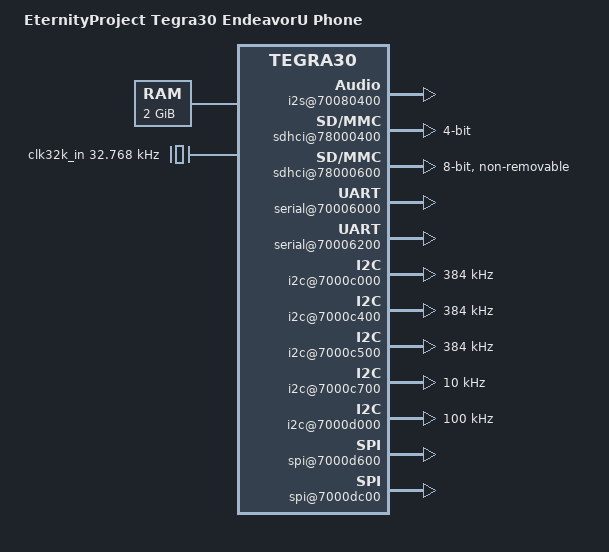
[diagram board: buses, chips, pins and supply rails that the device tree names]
/dts-v1/;

/include/ "tegra30.dtsi"

/**
 * This file contains DeviceTree entry for production version of EndeavorU.
 *
 * *M*: MUX
 * *P*: PULL
 * *S*: STATE
 *
 * NC: Not Connected
 * TP: Test Point
 * EPH: External pull high
 * EPD: External pull down
 * (I): Input ONLY
 *
 * Copyright (C) 2013, EternityProject Development
 * Angelo G. Del Regno <kholk11@gmail.com>
 */

/* [TODO] Define:
 * 1. Sensors (Proximity, ambient light, accelerometer)
 * 2. Regulators
 * 3. Power rails of regulator
 * 4. What about physical buttons? (PWR, VOLUP, VOLDN)
 * 5. Cameras, perhaps? So that we may define the pinctrl groups in there!
 */

/ {
	model = "EternityProject Tegra30 EndeavorU Phone";
	compatible = "nvidia,endeavoru", "nvidia,tegra30";

	memory {
		reg = <0x80000000 0x80000000>;
	};

	pinmux@70000000 {
		pinctrl-names = "default";
		pinctrl-0 = <&state_default>;

		state_default: pinmux {

			/* I2C MUX */
			gen1_i2c_scl_pc4 {
				nvidia,pins =	"gen1_i2c_scl_pc4",	/* PER_SENSOR_I2C_SCL*/
						"gen1_i2c_sda_pc5";	/* PER_SENSOR_I2C_SDA*/
				nvidia,function = "i2c1";
				nvidia,pull = <0>;
				nvidia,tristate = <0>;
				nvidia,enable-input = <1>;
				nvidia,lock = <0>;
				nvidia,open-drain = <0>;
			};

			gen2_i2c_scl_pt5 {
				nvidia,pins =	"gen2_i2c_scl_pt5",	/* DSP_TW_I2C_SCL    */
						"gen2_i2c_sda_pt6";	/* DSP_TW_I2C_SDA    */
				nvidia,function = "i2c2";
				nvidia,pull = <0>;
				nvidia,tristate = <0>;
				nvidia,enable-input = <1>;
				nvidia,lock = <0>;
				nvidia,open-drain = <0>;
			};

			cam_i2c_scl_pbb1 {
				nvidia,pins =	"cam_i2c_scl_pbb1",	/* CAM_I2C_SCL       */
						"cam_i2c_sda_pbb2";	/* CAM_I2C_SDA       */
				nvidia,function = "i2c3";
				nvidia,pull = <0>;
				nvidia,tristate = <0>;
				nvidia,enable-input = <1>;
				nvidia,lock = <0>;
				nvidia,open-drain = <0>;
			};

			ddc_scl_pv4 {
				nvidia,pins =	"ddc_scl_pv4",		/* MHL_DDC_CLK       */
						"ddc_sda_pv5";		/* MHL_DDC_DATA      */
				nvidia,function = "i2c4";
				nvidia,pull = <0>;
				nvidia,tristate = <0>;
				nvidia,enable-input = <1>;
				nvidia,lock = <0>;
				/*nvidia,open-drain = <1>; HTC wants open-drain!!! */
			};

			pwr_i2c_scl_pz6 {
				nvidia,pins =	"pwr_i2c_scl_pz6",	/* SYS_PWR_I2C_SCL   */
						"pwr_i2c_sda_pz7";	/* SYS_PWR_I2C_SDA   */
				nvidia,function = "i2cpwr";
				nvidia,pull = <0>;
				nvidia,tristate = <0>;
				nvidia,enable-input = <1>;
				nvidia,lock = <0>;
				nvidia,open-drain = <1>;
			};

			/* 32k clock OUT: !!NC!! */
			clk_32k_out_pa0 {
				nvidia,pins = "clk_32k_out_pa0";	/* NC!!!             */
				nvidia,function = "blink";
				nvidia,pull = <0>;
				nvidia,tristate = <0>;
			};

			/* SDMMC3: TI WL1283 SDIO */
			sdmmc3_clk_pa6 {
				nvidia,pins = "sdmmc3_clk_pa6";		/* WIFI_SDIO_CLOCK   */
				nvidia,function = "sdmmc3";		/* SDMMC3 MUX *M*/
				nvidia,pull = <0>;			/* NORMAL     *P*/
				nvidia,tristate = <0>;
				nvidia,enable-input = <1>;
			};
			sdmmc3_cmd_pa7 {
				nvidia,pins =	"sdmmc3_cmd_pa7",	/* WIFI_SDIO_COMMAND */
						"sdmmc3_dat0_pb7",	/* WIFI_SDIO_DATA0   */
						"sdmmc3_dat1_pb6",	/* WIFI_SDIO_DATA1   */
						"sdmmc3_dat2_pb5",	/* WIFI_SDIO_DATA2   */
						"sdmmc3_dat3_pb4";	/* WIFI_SDIO_DATA3   */
				nvidia,function = "sdmmc3";		/* SDMMC3 MUX *M*/
				nvidia,pull = <2>;			/* PULL_UP    *P*/
				nvidia,tristate = <0>;
				nvidia,enable-input = <1>;
			};

			/* SDMMC4: EMMC */
			sdmmc4_clk_pcc4 {
				nvidia,pins =	"sdmmc4_clk_pcc4";	/* BSP_EMMC_CLK      */
				nvidia,function = "sdmmc4";
				nvidia,pull = <0>;
				nvidia,tristate = <0>;
				nvidia,enable-input = <1>;
			};
			sdmmc4_rst_n_pcc3 {
				nvidia,pins =	"sdmmc4_rst_n_pcc3";	/* BSP_EMMC_RESOUT#  */
				nvidia,function = "rsvd2";
				nvidia,pull = <0>;
				nvidia,tristate = <0>;
				nvidia,enable-input = <1>;
			};
			sdmmc4_cmd_pt7 {
				nvidia,pins =	"sdmmc4_cmd_pt7",	/* PER_EMMC_CMD      */
						"sdmmc4_dat0_paa0",	/* BSP_EMMC_D0       */
						"sdmmc4_dat1_paa1",	/* BSP_EMMC_D1       */
						"sdmmc4_dat2_paa2",	/* BSP_EMMC_D2       */
						"sdmmc4_dat3_paa3",	/* BSP_EMMC_D3       */
						"sdmmc4_dat4_paa4",	/* BSP_EMMC_D4       */
						"sdmmc4_dat5_paa5",	/* BSP_EMMC_D5       */
						"sdmmc4_dat6_paa6",	/* BSP_EMMC_D6       */
						"sdmmc4_dat7_paa7";	/* BSP_EMMC_D7       */
				nvidia,function="sdmmc4";
				nvidia,pull = <2>;			/* PULL_UP    *P*/
				nvidia,tristate = <0>;
				nvidia,enable-input = <1>;
			};

			/* UART2: CAMERAs */
			uart2_txd_pc2 {
				nvidia,pins =	"uart2_txd_pc2",	/* MAMCAM_SPI_CLK  */
						"uart2_rxd_pc3",	/* MAMCAM_SPI_DO   */
						"uart2_cts_n_pj5",	/* MCAM_SPI_DI     */
						"uart2_rts_n_pj6";	/* MCAM_SPI_CS0    */
				nvidia,function = "spi4";
				nvidia,pull = <0>;
				nvidia,tristate = <0>;
				nvidia,enable-input = <1>;
			};

			/* UART3: Bluetooth UART */
			uart3_txd_pw6 {
				nvidia,pins =	"uart3_txd_pw6",	/* CON_BT_TX       */
						"uart3_rts_n_pc0";	/* BT_UART_RTS     */
				nvidia,function = "uartc";		/* UARTC MUX  *M*/
				nvidia,pull = <0>;			/* NORMAL     *P*/
				nvidia,tristate = <0>;
			};
			uart3_rxd_pw7 {
				nvidia,pins =	"uart3_rxd_pw7",	/* CON_BT_RX       */
						"uart3_cts_n_pa1";	/* BT_UART_CTS     */
				nvidia,function = "uartc";
				nvidia,pull = <2>;
				nvidia,tristate = <0>;
				nvidia,enable-input = <1>;
			};

			/* DAP1: MDM6600 INTERRUPTS */
			dap1_fs_pn0 {
				nvidia,pins =	"dap1_fs_pn0",		/* MDM_AP2BB_RST#   */
						"dap1_din_pn1",		/* AP2BB_HOST_ACTIVE*/
						"dap1_sclk_pn3";	/* MDM_AP2BB_PWRON  */
				nvidia,function = "i2s0";
				nvidia,pull = <0>;
				nvidia,tristate = <0>;
			};
			dap1_dout_pn2 {
				nvidia,pins = "dap1_dout_pn2";		/* MDM_BB_FATAL_INT */
				nvidia,function = "i2s0";
				nvidia,pull = <0>;
				nvidia,tristate = <0>;
				nvidia,enable-input = <1>;
			};

			/* DAP2: TLV320AIC3008 I2S */
			dap2_fs_pa2 {
				nvidia,pins =	"dap2_fs_pa2",		/* AIC3008_I2S_LRCK */
						"dap2_sclk_pa3",	/* AIC3008_I2S_SCK  */
						"dap2_din_pa4",		/* AIC3008_I2S_DIN  */
						"dap2_dout_pa5";	/* AIC3008_I2S_DOUT */
				nvidia,function = "i2s1";
				nvidia,pull = <1>;			/* PULL_DOWN  *P*/
				nvidia,tristate = <0>;
				nvidia,enable-input = <1>;
			};

			/* DAP3: TEGRA RAW AUDIO ON I2S */
			dap3_fs_pp0 {
				nvidia,pins =	"dap3_fs_pp0",		/* AUD_AP_PCM_SYNC  */
						"dap3_din_pp1",		/*                  */
						"dap3_dout_pp2",	/* AUD_AP_PCM_DOUT  */
						"dap3_sclk_pp3";	/*                  */
				nvidia,function = "i2s2";
				nvidia,pull = <0>;
				nvidia,tristate = <0>;
				nvidia,enable-input = <1>;
			};

			/* DAP4 I2S: TEGRA BT AUDIO */
			dap4_fs_pp4 {
				nvidia,pins =	"dap4_fs_pp4",		/* AUD_BTPCM_SYNC   */
						"dap4_din_pp5";		/* AUD_BTPCM_DOUT   */
				nvidia,function = "i2s3";
				nvidia,pull = <1>;			/* PULL_DOWN  *P*/
				nvidia,tristate = <0>;
				nvidia,enable-input = <1>;
			};

			/* DAP4 RSVD: AUDIO OUTPUT CONTROL */
			dap4_dout_pp6 {
				nvidia,pins =	"dap4_dout_pp6",	/* AUD_SPK_EN        */
						"dap4_sclk_pp7";	/* AUD_LINEOUT_EN    */
				nvidia,function = "rsvd2";
				nvidia,pull = <0>;
				nvidia,tristate = <0>;
			};

			/* SPDIF CONTROL */
			spdif_out_pk5 {
				nvidia,pins =	"spdif_out_pk5";	/* NC                */
				nvidia,function = "spdif";
				nvidia,pull = <0>;
				nvidia,tristate = <0>;
			};
			spdif_in_pk6 {
				nvidia,pins =	"spdif_in_pk6";		/* NC                */
				nvidia,function = "spdif";
				nvidia,pull = <0>;
				nvidia,tristate = <0>;
				nvidia,enable-input = <1>;
			};

			/* LCD PINS: MHL, MDM6600, CAM, PANEL */
			lcd_vsync_pj4 {
				nvidia,pins =	"lcd_vsync_pj4";	/* AP_USB_UART_OE#   */
				nvidia,function = "displaya";
				nvidia,pull = <1>;			/* PULL_DOWN  *P*/
				nvidia,tristate = <0>;
				nvidia,enable-input = <1>;
			};

			lcd_sck_pz4 {
				nvidia,pins =	"lcd_sck_pz4";		/* NC                */
				nvidia,function = "hdcp";
				nvidia,pull = <2>;			/* PULL_UP    *P*/
				nvidia,tristate = <1>;			/* TRISTATE   *S*/
				nvidia,enable-input = <0>;
			};

			lcd_cs1_n_pw0 {
				nvidia,pins =	"lcd_cs1_n_pw0";	/* PWR_CHG_STAT      */
				nvidia,function = "rsvd4";
				nvidia,pull = <2>;			/* PULL_UP    *P*/
				nvidia,tristate = <0>;
				nvidia,enable-input = <1>;
			};

			lcd_d0_pe0 {
				nvidia,pins =	"lcd_d0_pe0",		/* MHL_USB_SEL#      */
						"lcd_m1_pw1",		/* DSP_BL_PWM_CPU    */
						"lcd_pwr2_pc6";		/* AP2BB_SLAVE_WKUP1 */
				nvidia,function = "displaya";
				nvidia,pull = <0>;			/* NORMAL     *P*/
				nvidia,tristate = <0>;			
			};

			lcd_d1_pe1 {
				nvidia,pins =	"lcd_d1_pe1",		/* NC                */
						"lcd_pclk_pb3",		/* NC                */
						"lcd_d3_pe3",		/* NC                */
						"lcd_d4_pe4",		/* MHL_1V2_EN        */
						"lcd_d5_pe5",		/* DSP_LCM_1V8_EN    */
						"lcd_d7_pe7",		/* PEH_VIBRATOR_ON   */
						"lcd_d9_pf1",		/* UNKNOWN O_o       */
						"lcd_d10_pf2",		/* NC                */
						"lcd_d11_pf3",		/* NC                */
						"lcd_d12_pf4",		/* NC                */
						"lcd_d13_pf5",          /* NC                */
						"lcd_d16_pm0",		/* DSP_LCD_ID0       */
						"lcd_d17_pm1",		/* DSP_LCD_ID1       */
						"lcd_d19_pm3",		/* NC                */
						"lcd_d20_pm4",          /* V_DCIN_MODEM_EN   */
						"lcd_dc0_pn6",		/* DSP_LCD_RST#      */
						"lcd_de_pj1",		/* DSP_LCM_DE        */
						"lcd_wr_n_pz3",		/* NC                */
						"lcd_sdout_pn5",	/* NC                */
						"lcd_hsync_pj3";	/* NC                */
				nvidia,function = "displaya";
				nvidia,pull = <0>;			/* NORMAL     *P*/
				nvidia,tristate = <0>;
				nvidia,enable-input = <1>;
			};

			lcd_d2_pe2 {
				nvidia,pins =	"lcd_d2_pe2";		/* PEH_CAP_INT       */
				nvidia,function = "rsvd4";
				nvidia,pull = <0>;			/* NORMAL     *P*/
				nvidia,tristate = <0>;
			};

			lcd_d6_pe6 {
				nvidia,pins =	"lcd_d6_pe6";		/* MHL_RST#          */
				nvidia,function = "rsvd4";
				nvidia,pull = <0>;
				nvidia,tristate = <0>;
				nvidia,enable-input = <1>;
			};

			lcd_d8_pf0 {
				nvidia,pins =	"lcd_d8_pf0";		/* CAM_VCM_2V85_PWR  */
				nvidia,function = "rsvd4";
				nvidia,pull = <1>;			/* PULL_DOWN  *P*/
				nvidia,tristate = <0>;
				nvidia,enable-input = <1>;
			};

			lcd_d14_pf6 {
				nvidia,pins =	"lcd_d14_pf6",		/* CAM2_CORE_1V8_EN  */
						"lcd_d18_pm2",		/* FRONT_CAM_RST#    */
						"lcd_d23_pm7";		/* V_CAM_VAA_2V85_EN */
				nvidia,function = "rsvd4";
				nvidia,pull = <0>;			/* NORMAL     *P*/
				nvidia,tristate = <0>;
				nvidia,enable-input = <1>;
			};

			lcd_dc1_pd2 {
				nvidia,pins =	"lcd_dc1_pd2",		/* AUD_A1V8_EN       */
						"lcd_pwr0_pb2",		/* AUD_3V3_EN        */
						"lcd_cs0_n_pn4";        /* NC                */
				nvidia,function = "displayb";         /* !!! CHECKME/FIXME !!! */
				nvidia,pull = <0>;			/* NORMAL     *P*/
				nvidia,tristate = <0>;
				nvidia,enable-input = <1>;
			};
			lcd_d15_pf7 {
				nvidia,pins =	"lcd_d15_pf7",		/* SYS_PMU_MSECURE   */
						"lcd_d19_pm3",		/* SDMMC_2V85_EN     */
						"lcd_d21_pm5",		/* NFC_VEN           */
						"lcd_d22_pm6",		/* NFC_DL_MODE       */
						"lcd_pwr1_pc1";		/* AP2BB_RST_PWRDWN# */
				nvidia,function = "rsvd4";
				nvidia,pull = <0>;			/* NORMAL     *P*/
				nvidia,tristate = <0>;
			};

			/* GMI ON RSVD PINS */
			gmi_ad0_pg0 {
				nvidia,pins =	"gmi_ad0_pg0",		/* SYS_BOOT_SEL_0    */
						"gmi_ad1_pg1",		/* SYS_BOOT_SEL_1    */
						"gmi_ad2_pg2",		/* SYS_BOOT_SEL_2    */
						"gmi_ad3_pg3",		/* SYS_BOOT_SEL_3    */
						"gmi_ad4_pg4",		/* SYS_RAM_CODE_0    */
						"gmi_ad5_pg5",		/* SYS_RAM_CODE_1    */
						"gmi_ad6_pg6",		/* SYS_RAM_CODE_2    */
						"gmi_ad7_pg7",		/* SYS_RAM_CODE_3    */
						"gmi_ad12_ph4",		/* NC                */
						"gmi_ad13_ph5",		/* NC                */
						"gmi_ad14_ph6",		/* DSP_TP_RST#       */
						"gmi_wr_n_pi0",		/* EPH               */
						"gmi_oe_n_pi1",		/* EPH               */
						"gmi_dqs_pi2",		/* NC                */
						"gmi_wait_pi7",		/* NC                */
						"gmi_adv_n_pk0",	/* EPD               */
						"gmi_clk_pk1",		/* NC                */
						"gmi_cs2_n_pk3",	/* NC                */
						"gmi_cs3_n_pk4";        /* NC                */
				nvidia,function = "rsvd1";
				nvidia,pull = <0>;			/* NORMAL     *P*/
				nvidia,tristate = <0>;
				nvidia,enable-input = <1>;
			};
			gmi_cs6_n_pi3 {
				nvidia,pins =	"gmi_cs6_n_pi3";	/* NC                */
				nvidia,function = "nand_alt";
				nvidia,pull = <0>;			/* NORMAL     *P*/
				nvidia,tristate = <0>;
				nvidia,enable-input = <1>;
			};
			gmi_ad9_ph1 {
				nvidia,pins =	"gmi_ad9_ph1",		/* NC                */
						"gmi_ad11_ph3";		/* NC                */
				nvidia,function = "nand";
				nvidia,pull = <0>;			/* NORMAL     *P*/
				nvidia,tristate = <0>;
				nvidia,enable-input = <1>;
			};
			gmi_cs1_n_pj2 {
				nvidia,pins =	"gmi_cs1_n_pj2";	/* PEH_COMP_INT      */
				nvidia,function = "rsvd1";
				nvidia,pull = <1>;			/* PULL_DOWN  *P*/
				nvidia,tristate = <0>;
				nvidia,enable-input = <1>;
			};
			gmi_cs4_n_pk2 {
				nvidia,pins =	"gmi_cs4_n_pk2";	/* PER_PS_INT#       */
				nvidia,function = "rsvd1";
				nvidia,pull = <2>;			/* PULL_UP    *P*/
				nvidia,tristate = <0>;
				nvidia,enable-input = <1>;
			};
			gmi_cs7_n_pi6 {
				nvidia,pins =	"gmi_cs7_n_pi6";	/* PEH_GYR_INT       */
				nvidia,function = "gmi";
				nvidia,pull = <2>;			/* PULL_UP    *P*/
				nvidia,tristate = <0>;
				nvidia,enable-input = <1>;
			};

			/* GMI ON RSVD1 PINS */
			gmi_wp_n_pc7 {
				nvidia,pins =	"gmi_wp_n_pc7";		/* MHL_INT#          */
				nvidia,function = "rsvd1";
				nvidia,pull = <2>;			/* PULL_UP    *P*/
				nvidia,tristate = <0>;
				nvidia,enable-input = <1>;
			};
			gmi_iordy_pi5 {
				nvidia,pins =	"gmi_iordy_pi5";	/* SIM_DET           */
				nvidia,function = "rsvd1";
				nvidia,pull = <0>;			/* NORMAL     *P*/
				nvidia,tristate = <1>;                  /* TRISTATE   *S*/
				nvidia,enable-input = <1>;
			};

			/* GMI ON RSVD3 PINS */
			gmi_rst_n_pi4 {
				nvidia,pins =	"gmi_rst_n_pi4";	/* NC                */
				nvidia,function = "rsvd4";
				nvidia,pull = <2>;			/* PULL_UP    *P*/
				nvidia,tristate = <1>;                  /* TRISTATE   *S*/
				nvidia,enable-input = <1>;
			};

			/* GMI ON UARTD PINS */
			gmi_a16_pj7 {
				nvidia,pins =	"gmi_a16_pj7",		/* MDM_TX            */
						"gmi_a19_pk7";		/* MDM_RTS           */
				nvidia,function = "uartd";
				nvidia,pull = <0>;
				nvidia,tristate = <0>;
			};
			gmi_a17_pb0 {
				nvidia,pins =	"gmi_a17_pb0",		/* MDM_IMC_UART_RX   */
						"gmi_a18_pb1";		/* MDM_IMC_UART_CTS  */
				nvidia,function = "uartd";
				nvidia,pull = <0>;			/* NORMAL     *P*/
				nvidia,tristate = <0>;
				nvidia,enable-input = <1>;
			};

			/* GMI ON OTHER PINS */
			gmi_ad8_ph0 {
				nvidia,pins = "gmi_ad8_ph0";		/* HAPTIC_PWM_XC     */
				nvidia,function = "pwm0";
				nvidia,pull = <0>;			/* NORMAL     *P*/
				nvidia,tristate = <0>;
			};
			gmi_ad10_ph2 {
				nvidia,pins = "gmi_ad10_ph2";		/* NC                */
				nvidia,function = "nand";
				nvidia,pull = <0>;			/* NORMAL     *P*/
				nvidia,tristate = <0>;
			};
			gmi_ad15_ph7 {
				nvidia,pins = "gmi_ad15_ph7";		/* NC                */
				nvidia,function = "nand";
				nvidia,pull = <2>;			/* PULL_UP    *P*/
				nvidia,tristate = <1>;			/* TRISTATE   *S*/
				nvidia,enable-input = <1>;
			};
			gmi_cs0_n_pj0 {
				nvidia,pins = "gmi_cs0_n_pj0";		/* BB2AP_HOST_WAKEUP */
				nvidia,function = "gmi";
				nvidia,pull = <0>;			/* NORMAL     *P*/
				nvidia,tristate = <0>;
				nvidia,enable-input = <1>;
			};

			/* TEGRA KEYBOARD PINS (UNUSED) */
			kb_col0_pq0 {
				nvidia,pins =	"kb_col0_pq0",		/* NC                */
						"kb_col1_pq1",		/* NC                */
						"kb_col2_pq2",		/* NC                */
						"kb_col3_pq3",		/* NC                */
						"kb_col4_pq4",		/* NC                */
						"kb_col5_pq5";		/* NC                */
				nvidia,function = "kbc";
				nvidia,pull = <2>;			/* PULL_UP    *P*/
				nvidia,tristate = <0>;
				nvidia,enable-input = <1>;
			};

			/* TEGRA KEYBOARD PINS (REMAPPED) */
			kb_row0_pr0 {
				nvidia,pins =	"kb_row0_pr0",		/* RAW_INTR0 (I) */
						"kb_row6_pr6",		/* CAM_CAM1_ID       */
						"kb_row7_pr7";		/* CAM_FRONT_CAM_ID  */
				nvidia,function = "nand";
				nvidia,pull = <0>;
				nvidia,tristate = <1>;			/* TRISTATE   *S*/
				nvidia,enable-input = <1>;
			};
			kb_row1_pr1 {
				nvidia,pins =	"kb_row1_pr1";		/* PER_TORCH_EN      */
				nvidia,function = "kbc";
				nvidia,pull = <0>;
				nvidia,tristate = <0>;
			};
			kb_row2_pr2 {
				nvidia,pins =	"kb_row2_pr2",		/* GYRO_SLEEP        */
						"kb_row5_pr5";          /* NC                */
				nvidia,function = "nand";
				nvidia,pull = <0>;
				nvidia,tristate = <0>;
			};
			kb_row3_pr3 {
				nvidia,pins =	"kb_row3_pr3",		/* RAW_1V8_EN        */
						"kb_row4_pr4",		/* RAW_RSTN          */
						"kb_row9_ps1",		/* NC                */
						"kb_row10_ps2";		/* CON_USB_ID_1      */
				nvidia,function = "nand";
				nvidia,pull = <0>;
				nvidia,tristate = <0>;
				nvidia,enable-input = <1>;
			};
			kb_row8_ps0 {
				nvidia,pins =	"kb_row8_ps0";		/* DSP_VOL_UP        */
				nvidia,function = "kbc";
				nvidia,pull = <2>;			/* PULL_UP    *P*/
				nvidia,tristate = <0>;
				nvidia,enable-input = <1>;
			};

			/* ULPI ON UARTA */
			ulpi_data0_po1 {
				nvidia,pins =	"ulpi_data0_po1";	/* BSP_AP_DEBUG_TX   */
				nvidia,function = "uarta";
				nvidia,pull = <0>;
				nvidia,tristate = <0>;
			};
			ulpi_data1_po2 {
				nvidia,pins =	"ulpi_data1_po2";	/* BSP_AP_DEBUG_RX   */
				nvidia,function = "uarta";
				nvidia,pull = <0>;
				nvidia,tristate = <0>;
				nvidia,enable-input = <1>;
			};

			/* ULPI ON RSVD */
			ulpi_data2_po3 {
				nvidia,pins =	"ulpi_data2_po3",	/* NC                */
						"ulpi_data7_po0";	/* AP_USB_UART_SEL   */
				nvidia,function = "hsi";
				nvidia,pull = <0>;
				nvidia,tristate = <0>;
				nvidia,enable-input = <1>;
			};
			ulpi_clk_py0 {
				nvidia,pins =	"ulpi_clk_py0",		/* LED_DRV_EN        */
						"ulpi_dir_py1";		/* LED_DRV_TRIG      */
				nvidia,function = "rsvd2";
				nvidia,pull = <0>;
				nvidia,tristate = <0>;
			};

			/* ULPI ON RSVD1 */
			ulpi_data3_po4 {
				nvidia,pins =	"ulpi_data3_po4";	/* CON_WIFI_IRQ      */
				nvidia,function = "hsi";
				nvidia,pull = <0>;
				nvidia,tristate = <0>;
				nvidia,enable-input = <1>;
			};

			/* ULPI ON ULPI */
			ulpi_data4_po5 {
				nvidia,pins =	"ulpi_data4_po5",	/* BT_UART_CTS_WAKEUP*/
						"ulpi_data5_po6",	/* NC                */
						"ulpi_data6_po7",	/* NC                */
						"ulpi_stp_py3";		/* PEH_V_SRIO_1V8_EN */
				nvidia,function = "ulpi";
				nvidia,pull = <0>;
				nvidia,tristate = <0>;
				nvidia,enable-input = <1>;
			};
			ulpi_nxt_py2 {
				nvidia,pins =	"ulpi_nxt_py2";		/* MHL_3V3_EN        */
				nvidia,function = "ulpi";
				nvidia,pull = <0>;
				nvidia,tristate = <0>;
			};

			/* GPIOs ON RSVD */
			pu0 {
				nvidia,pins =	"pu0",			/* CON_BT_EN         */
						"pu3";			/* NC                */
				nvidia,function = "rsvd4";
				nvidia,pull = <0>;
				nvidia,tristate = <0>;
				nvidia,enable-input = <1>;
			};
			pu1 {
				nvidia,pins =	"pu1",			/* NC                */
						"pu2",			/* NC                */
						"pv0";			/* BB2AP_SUSPEND_REQ */
				nvidia,function = "rsvd1";
				nvidia,pull = <0>;
				nvidia,tristate = <0>;
				nvidia,enable-input = <1>;
			};
			pbb0 {
				nvidia,pins =	"pbb0",			/* CAM_CAM1_RST#     */
						"pbb4",			/* VCAM_VDDIO_1V8_EN */
						"pbb5",			/* CAM_CAM1_VCM_PD   */
						"pbb6",			/* AUD_REMO_PRES#    */
						"pbb7",			/* FRONT_CAM_STANDBY */
						"pcc1";			/* CAM_SEL           */
				nvidia,function = "sdmmc4";
				nvidia,pull = <0>;
				nvidia,tristate = <0>;
				nvidia,enable-input = <1>;
			};
			pv1 {
				nvidia,pins =	"pv1";			/* DSP_TP_ATT#       */
				nvidia,function = "rsvd1";
				nvidia,pull = <2>;			/* PULL_UP    *P*/
				nvidia,tristate = <0>;
				nvidia,enable-input = <1>;
			};

			/* GPIOs ON RSVD1 */
			pv2 {
				nvidia,pins =	"pv2",			/* CON_WIFI_EN       */
						"pv3";			/* NC                */
				nvidia,function = "rsvd2";
				nvidia,pull = <0>;
				nvidia,tristate = <0>;
			};
			pu4 {
				nvidia,pins =	"pu4";			/* PWR_MBAT_IN       */
				nvidia,function = "rsvd4";
				nvidia,pull = <0>;
				nvidia,tristate = <0>;
				nvidia,enable-input = <1>;
			};
			pu5 {
				nvidia,pins =	"pu5";			/* CAPSENSOR_INT_CPU */
				nvidia,function = "rsvd4";
				nvidia,pull = <2>;			/* PULL_UP    *P*/
				nvidia,tristate = <0>;
				nvidia,enable-input = <1>;
			};

			/* GPIOs ON RSVD2 */
			pcc2 {
				nvidia,pins =	"pcc2";			/* THEMP_ALERT_INT#  */
				nvidia,function = "rsvd3";
				nvidia,pull = <2>;			/* PULL_UP    *P*/
				nvidia,tristate = <0>;
				nvidia,enable-input = <1>;
			};

			/* GPIOs ON OTHERs */
			pu6 {
				nvidia,pins =	"pu6";			/* CAPSENSOR_INT_CPU */
				nvidia,function = "pwm3";
				nvidia,pull = <2>;			/* PULL_UP    *P*/
				nvidia,tristate = <1>;			/* TRISTATE   *S*/
				nvidia,enable-input = <1>;
			};
			pbb3 {
				nvidia,pins =	"pbb3";			/* PER_FLASH_EN      */
				nvidia,function = "vgp3";
				nvidia,pull = <0>;
				nvidia,tristate = <0>;
			};

			/* SPI 1 */
			spi1_mosi_px4 {
				nvidia,pins =	"spi1_mosi_px4",	/* NC                */
						"spi1_cs0_n_px6";	/* NC                */
				nvidia,function = "spi1";
				nvidia,pull = <0>;
				nvidia,tristate = <0>;
				nvidia,enable-input = <1>;
			};
			spi1_sck_px5 {
				nvidia,pins =	"spi1_sck_px5";		/* PWR_CHG_INT       */
				nvidia,function = "gmi";
				nvidia,pull = <2>;			/* PULL_UP    *P*/
				nvidia,tristate = <0>;
				nvidia,enable-input = <1>;
			};
			spi1_miso_px7 {
				nvidia,pins =	"spi1_miso_px7";	/* AUDIO_MCLK_EN     */
				nvidia,function = "gmi";
				nvidia,pull = <0>;
				nvidia,tristate = <0>;
			};

			/* SPI 2 */
			spi2_mosi_px0 {
				nvidia,pins =	"spi2_mosi_px0",	/* AUD_SPI_DO        */
						"spi2_sck_px2",		/* AUD_SPI_CLK       */
						"spi2_cs0_n_px3";	/* AUD_SPI_CS#       */
				nvidia,function = "spi2";
				nvidia,pull = <0>;
				nvidia,tristate = <0>;
			};
			spi2_miso_px1 {
				nvidia,pins =	"spi2_miso_px1";	/* AUD_SPI_DI        */
				nvidia,function = "spi2";
				nvidia,pull = <0>;
				nvidia,tristate = <0>;
				nvidia,enable-input = <1>;
			};
			spi2_cs1_n_pw2 {
				nvidia,pins =	"spi2_cs1_n_pw2";	/* AUD_HP_DET#       */
				nvidia,function = "spi2";
				nvidia,pull = <2>;			/* PULL_UP    *P*/
				nvidia,tristate = <0>;
				nvidia,enable-input = <1>;
			};
			spi2_cs2_n_pw3 {
				nvidia,pins =	"spi2_cs2_n_pw3";	/* DSP_VOL_DOWN      */
				nvidia,function = "spi2";
				nvidia,pull = <2>;			/* PULL_UP    *P*/
				nvidia,tristate = <1>;			/* TRISTATE   *S*/
				nvidia,enable-input = <1>;
			};

			/* VIDEO: HDMI(MHL) and CAMERA */
			hdmi_int_pn7 {
				nvidia,pins =	"hdmi_int_pn7";		/* MHL_HPD           */
				nvidia,function = "rsvd4";
				nvidia,pull = <0>;
				nvidia,tristate = <1>;			/* TRISTATE   *S*/
				nvidia,enable-input = <1>;
			};

			hdmi_cec_pee3 {
				nvidia,pins =	"hdmi_cec_pee3";	/* NC                */
				nvidia,function = "cec";
				nvidia,pull = <0>;
				nvidia,tristate = <0>;
				nvidia,enable-input = <1>;
			};

			crt_vsync_pv7 {
				nvidia,pins =	"crt_vsync_pv7";	/* NC?               */
				nvidia,function = "crt";
				nvidia,pull = <0>;
				nvidia,tristate = <0>;
			};

			cam_mclk_pcc0 {
				nvidia,pins =	"cam_mclk_pcc0";	/* CAM_MCLK          */
				nvidia,function = "vi_alt2";
				nvidia,pull = <0>;
				nvidia,tristate = <0>;
				nvidia,enable-input = <1>;
			};

			/* SDMMC1 PINS (REMAPPED) */
			sdmmc1_dat0_py7 {
				nvidia,pins =	"sdmmc1_dat0_py7",	/* TP                */
						"sdmmc1_cmd_pz1";	/* TP                */
				nvidia,function = "sdmmc1";
				nvidia,pull = <2>;			/* PULL_UP    *P*/
				nvidia,tristate = <0>;
				nvidia,enable-input = <1>;
			};
			sdmmc1_dat1_py6 {
				nvidia,pins =	"sdmmc1_dat1_py6";	/* NFC_IRQ           */
				nvidia,function = "rsvd2";
				nvidia,pull = <0>;
				nvidia,tristate = <1>;			/* TRISTATE   *S*/
				nvidia,enable-input = <1>;
			};
			sdmmc1_dat2_py5 {
				nvidia,pins =	"sdmmc1_dat2_py5";	/* AUD_REMO_RX       */
				nvidia,function = "uarte";
				nvidia,pull = <0>;
				nvidia,tristate = <0>;
				nvidia,enable-input = <1>;
			};
			sdmmc1_dat3_py4 {
				nvidia,pins =	"sdmmc1_dat3_py4";	/* AUD_REMO_TX       */
				nvidia,function = "uarte";
				nvidia,pull = <0>;
				nvidia,tristate = <0>;
			};
			sdmmc1_clk_pz0 {
				nvidia,pins =	"sdmmc1_clk_pz0";	/* AUD_REMO_OE#      */
				nvidia,function = "sdmmc1";
				nvidia,pull = <0>;
				nvidia,tristate = <0>;
			};
			/* Various clocks */
			clk1_out_pw4 {
				nvidia,pins =	"clk1_out_pw4";		/* AUD_MCLK          */
				nvidia,function = "rsvd3";
				nvidia,pull = <0>;
				nvidia,tristate = <0>;
				nvidia,enable-input = <1>;
			};
			clk2_out_pw5 {
				nvidia,pins =	"clk2_out_pw5";		/* AUD_AIC3008_RST#  */
				nvidia,function = "rsvd3";
				nvidia,pull = <0>;
				nvidia,tristate = <0>;
				nvidia,enable-input = <1>;
			};
			clk3_out_pee0 {
				nvidia,pins =	"clk3_out_pee0";	/* NC                */
				nvidia,function = "extperiph3";
				nvidia,pull = <0>;
				nvidia,tristate = <0>;
			};
			clk2_req_pcc5 {
				nvidia,pins =	"clk2_req_pcc5";	/* AUD_DOCK_OUT_EN   */
				nvidia,function = "rsvd3";
				nvidia,pull = <0>;
				nvidia,tristate = <0>;
			};
			clk3_req_pee1 {
				nvidia,pins=	"clk3_req_pee1";	/* RAW_INTR1 (I)     */
				nvidia,function = "rsvd3";
				nvidia,pull = <0>;
				nvidia,tristate = <1>;			/* TRISTATE   *S*/
				nvidia,enable-input = <1>;
			};

			/* SYS clock */
			sys_clk_req_pz5 {
				nvidia,pins = "sys_clk_req_pz5";	/* SYS               */
				nvidia,functions = "sysclk";
				nvidia,pull = <0>;
				nvidia,tristate = <0>;
			};

			/* Pingroup driving */
			drive_dap2 {
				nvidia,pins = "drive_dap2";
				nvidia,high-speed-mode = <0>;
				nvidia,schmitt = <1>;
				nvidia,low-power-mode = <3>;		/* This should be DIV_1. 3=DIV_1? */
				nvidia,pull-down-strength = <31>;
				nvidia,pull-up-strength = <31>;
				nvidia,slew-rate-rising = <0>;		/* This should be FASTEST. 0=FASTEST? */
				nvidia,slew-rate-falling = <0>;		/* This should be FASTEST. 0=FASTEST? */
			};
			drive_spi {
				nvidia,pins = "drive_spi";
				nvidia,high-speed-mode = <0>;
				nvidia,schmitt = <1>;
				nvidia,low-power-mode = <3>;		/* This should be DIV_1. 3=DIV_1? */
				nvidia,pull-down-strength = <31>;
				nvidia,pull-up-strength = <31>;
				nvidia,slew-rate-rising = <0>;		/* This should be FASTEST. 0=FASTEST? */
				nvidia,slew-rate-falling = <0>;		/* This should be FASTEST. 0=FASTEST? */
			};
			drive_dbg {
				nvidia,pins = "drive_dbg";
				nvidia,high-speed-mode = <0>;
				nvidia,schmitt = <1>;
				nvidia,low-power-mode = <3>;		/* This should be DIV_1. 3=DIV_1? */
				nvidia,pull-down-strength = <31>;
				nvidia,pull-up-strength = <31>;
				nvidia,slew-rate-rising = <0>;		/* This should be FASTEST. 0=FASTEST? */
				nvidia,slew-rate-falling = <0>;		/* This should be FASTEST. 0=FASTEST? */
			};
			drive_at5 {
				nvidia,pins = "drive_at5";
				nvidia,high-speed-mode = <0>;
				nvidia,schmitt = <1>;
				nvidia,low-power-mode = <3>;		/* This should be DIV_1. 3=DIV_1? */
				nvidia,pull-down-strength = <31>;
				nvidia,pull-up-strength = <31>;
				nvidia,slew-rate-rising = <0>;		/* This should be FASTEST. 0=FASTEST? */
				nvidia,slew-rate-falling = <0>;		/* This should be FASTEST. 0=FASTEST? */
			};
			drive_gme {
				nvidia,pins = "drive_gme";
				nvidia,high-speed-mode = <0>;
				nvidia,schmitt = <1>;
				nvidia,low-power-mode = <3>;		/* This should be DIV_1. 3=DIV_1? */
				nvidia,pull-down-strength = <31>;
				nvidia,pull-up-strength = <31>;
				nvidia,slew-rate-rising = <0>;		/* This should be FASTEST. 0=FASTEST? */
				nvidia,slew-rate-falling = <0>;		/* This should be FASTEST. 0=FASTEST? */
			};
			drive_ddc {
				nvidia,pins = "drive_ddc";
				nvidia,high-speed-mode = <0>;
				nvidia,schmitt = <1>;
				nvidia,low-power-mode = <3>;		/* This should be DIV_1. 3=DIV_1? */
				nvidia,pull-down-strength = <31>;
				nvidia,pull-up-strength = <31>;
				nvidia,slew-rate-rising = <0>;		/* This should be FASTEST. 0=FASTEST? */
				nvidia,slew-rate-falling = <0>;		/* This should be FASTEST. 0=FASTEST? */
			};
			drive_ao1 {
				nvidia,pins = "drive_ao1";
				nvidia,high-speed-mode = <0>;
				nvidia,schmitt = <1>;
				nvidia,low-power-mode = <3>;		/* This should be DIV_1. 3=DIV_1? */
				nvidia,pull-down-strength = <31>;
				nvidia,pull-up-strength = <31>;
				nvidia,slew-rate-rising = <0>;		/* This should be FASTEST. 0=FASTEST? */
				nvidia,slew-rate-falling = <0>;		/* This should be FASTEST. 0=FASTEST? */
			};
		};
	};

	ahub {
		i2s@70080400 {
			status = "okay";
		};
	};

	pmc {
		status = "okay";
		nvidia,invert-interrupt;
		nvidia,suspend-mode = <0>;
		nvidia,cpu-pwr-good-time = <600>;
		nvidia,cpu-pwr-off-time = <200>;
		nvidia,core-pwr-good-time = <2849 2849>;
		nvidia,core-pwr-off-time = <0>;
		nvidia,core-power-req-active-high;
		nvidia,sys-clock-req-active-high;
		nvidia,lp0-vec = <0xbc0a8000 0x2000>;
	};

	/* TI WL1283 SDIO */
	sdhci@78000400 {
		status = "okay";
		bus-width = <4>;
		broken-cd; /* There is no card detection available; polling must be used??? */
	};

	/* EMMC */
	sdhci@78000600 {
		status = "okay";
		bus-width = <8>;
		non-removable; /* as it is an eMMC, obviously */
	};

	serial@70006000 {
		status = "okay";
	};

	serial@70006200 {
		compatible = "nvidia,tegra30-hsuart";
		status = "okay";
	};

	/* i2c1 */
	i2c@7000c000 {
		status = "okay";
		clock-frequency = <384000>;

		/* TI TLV320AIC3008 is on SPI1 */
	};

	/* i2c2 */
	i2c@7000c400 {
		status = "okay";
		clock-frequency = <384000>;
	};

	/* i2c3 */
	i2c@7000c500 {
		status = "okay";
		clock-frequency = <384000>;
	};

	/* i2c4 */
	i2c@7000c700 {
		status = "okay";
		clock-frequency = <10000>;
	};

	/* i2c5 */
	i2c@7000d000 {
		status = "okay";
		clock-frequency = <100000>;
	};

	/* SPI1? */
	spi@7000d600 {
		status = "okay";
		spi-max-frequency = <10800000>;
		/* AIC3008 is on SPI1, bus_num 1 */
		/* Define AIC3008 parameters here, please. */
	};

	/* SPI4? */
	spi@7000dc00 {
		status = "okay";
		spi-max-frequency = <25000000>;
		/* HTC rawchip is on SPI4, bus_num 3 */
		/* Define RAWCHIP parameters here, please. */
	};

	clocks {
		compatible = "simple-bus";
		#address-cells = <1>;
		#size-cells = <0>;

		clk32k_in: clock {
			compatible = "fixed-clock";
			reg=<0>;
			#clock-cells = <0>;
			clock-frequency = <32768>;
		};
	};

	gpio {
		compatible = "nvidia,tegra30-gpio";
	};

	/* tegra-snd-aic3008 // AIC3008 chip */
	sound {
		compatible = "nvidia,eprj-audio-tlv320aic3008-endeavoru",
			     "nvidia,eprj-audio-tlv320aic3008";
		nvidia,model = "EternityProject TLV320AIC3008 Audio for ENRU";

/*		nvidia,i2s-controller = <&tegra_i2s1>;*/
/*		nvidia,audio-codec = <&aic3008>;*/
	};
};
